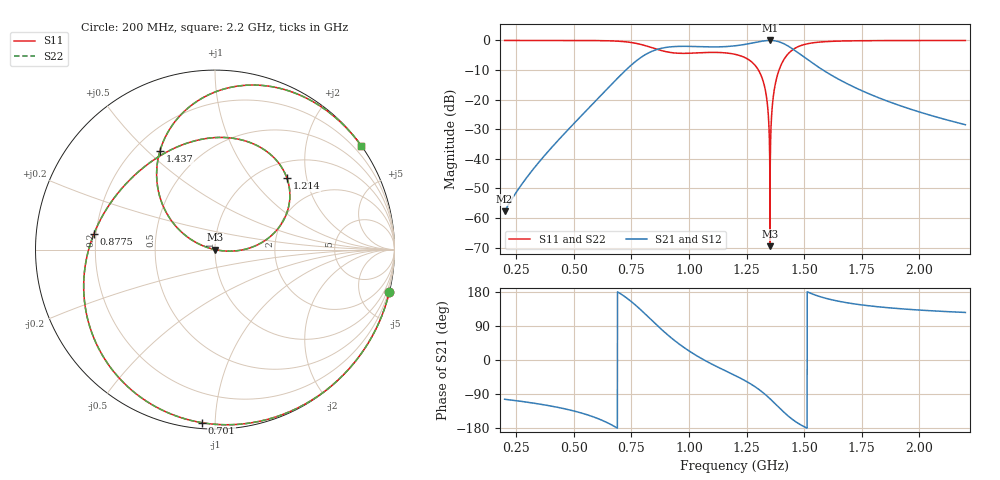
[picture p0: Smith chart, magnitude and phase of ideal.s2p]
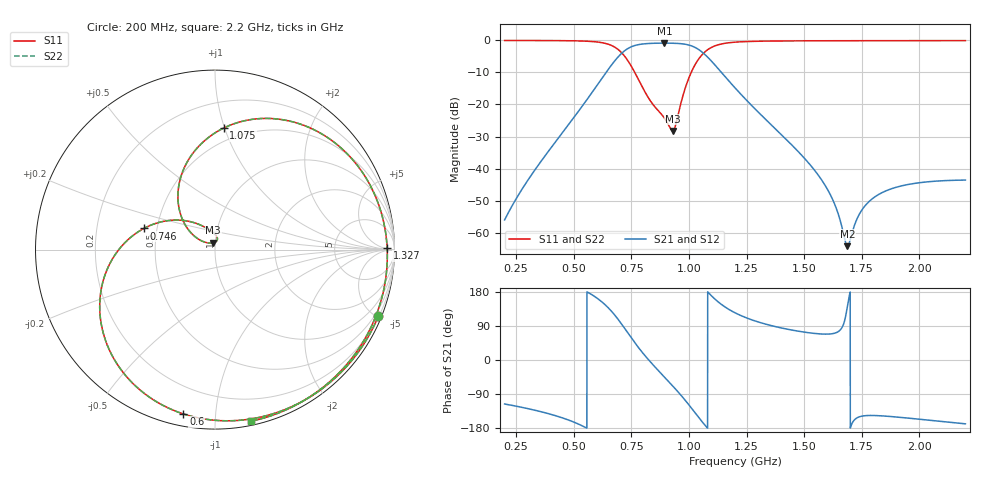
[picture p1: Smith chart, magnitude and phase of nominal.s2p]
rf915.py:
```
"""RF915 design and measurement tools. All generated design data is SIMULATED."""
from __future__ import annotations
import argparse
import csv
import json
from pathlib import Path
import numpy as np
import matplotlib
matplotlib.use('Agg')
import matplotlib.pyplot as plt

ROOT = Path(__file__).resolve().parent
Z0 = 50.0
# Coilcraft Document 158: R2 + ((k*sqrt(f)+jwL) || (R1+1/jwCp)).
# Parameters are typical de-embedded vendor fits, not measured board models.
COILS = {
    1.8: (25, .033, .014, 6.50e-6),
    2.2: (25, .180, .014, 1.14e-5),
    15.: (13, .078, .066, 2.50e-5),
    16.: (3, .085, .068, 3.10e-5),
    18.: (10, .066, .064, 3.66e-5),
    22.: (2, .140, .058, 4.90e-5),
}

def db(x):
    return 20*np.log10(np.maximum(np.abs(x), 1e-15))

def series(z):
    out = np.zeros((len(z), 2, 2), complex)
    out[:, 0, 0] = out[:, 1, 1] = 1
    out[:, 0, 1] = z
    return out

def shunt(y):
    out = series(np.zeros(len(y)))
    out[:, 1, 0] = y
    return out

def line(f, length_mm, impedance=50., er_eff=3.1, loss_db_per_m=8.):
    gamma_l = (loss_db_per_m*np.log(10)/20 +
               1j*2*np.pi*f*np.sqrt(er_eff)/299792458)*length_mm/1000
    out = np.empty((len(f),2,2), complex)
    out[:,0,0] = out[:,1,1] = np.cosh(gamma_l)
    out[:,0,1] = impedance*np.sinh(gamma_l)
    out[:,1,0] = np.sinh(gamma_l)/impedance
    return out

def abcd_to_s(t, z0=Z0):
    a,b,c,d = t[:,0,0],t[:,0,1],t[:,1,0],t[:,1,1]
    den = a+b/z0+c*z0+d
    s = np.empty_like(t)
    s[:,0,0] = (a+b/z0-c*z0-d)/den
    s[:,1,0] = 2/den
    s[:,0,1] = 2*(a*d-b*c)/den
    s[:,1,1] = (-a+b/z0-c*z0+d)/den
    return s

def inductor(f, nominal_nh, scale=1., ideal=False):
    w = 2*np.pi*f
    if ideal:
        return 1j*w*nominal_nh*1e-9*scale
    r1,r2,cp,k = COILS[nominal_nh]
    za = k*np.sqrt(f)+1j*w*nominal_nh*1e-9*scale
    zb = r1+1/(1j*w*cp*1e-12)
    return r2+za*zb/(za+zb)

def capacitor(f, pf, ideal=False, esr=.08, esl_nh=.2):
    return 1/(1j*2*np.pi*f*pf*1e-12) + (0 if ideal else esr+1j*2*np.pi*f*esl_nh*1e-9)

def simulate(f, cfg, ideal=False, variation=None):
    """Series C1/L1, parallel L2/C2, series L3/C3, SMA-to-SMA estimates.

    The branch parasitics include branch trace + via return. They are assumptions,
    not extracted values. See design.json and the README.
    """
    f = np.asarray(f, float)
    if f.ndim != 1 or np.any(f <= 0):
        raise ValueError('Frequency must be a positive 1D array')
    v = variation or {}
    p = cfg['parasitics']
    def lc(ref):
        return inductor(f, cfg['components'][ref], v.get(ref,1), ideal)
    def cc(ref):
        return capacitor(f, cfg['components'][ref]+v.get(ref,0), ideal,
                         p['capacitor_esr_ohm'],p['capacitor_esl_nh'])
    w = 2*np.pi*f
    bl = 0 if ideal else 1j*w*v.get('return_nh',p['ground_return_nh'])*1e-9
    def branch(z, length):
        if ideal: return z
        t=line(f,length,p['narrow_trace_ohms'],p['narrow_trace_er_eff'])
        return (t[:,0,0]*z+t[:,0,1])/(t[:,1,0]*z+t[:,1,1])
    zp = 1/(1/branch(lc('L2')+bl,p['inductor_branch_mm'])+1/branch(cc('C2')+bl,p['capacitor_branch_mm']))
    y = 1/zp + (0 if ideal else 1j*w*p['center_pad_pf']*1e-12)
    if ideal:
        t = series(cc('C1')+lc('L1')) @ shunt(y) @ series(lc('L3')+cc('C3'))
    else:
        trace1=line(f,p['between_series_parts_mm'],p['narrow_trace_ohms'],p['narrow_trace_er_eff'])
        trace2=line(f,p['inductor_to_center_mm'],p['narrow_trace_ohms'],p['narrow_trace_er_eff'])
        left=series(cc('C1')) @ trace1 @ series(lc('L1')) @ trace2
        right=trace2 @ series(lc('L3')) @ trace1 @ series(cc('C3'))
        t=left @ shunt(y) @ right
    if not ideal:
        launch = shunt(1j*w*p['launch_pad_pf']*1e-12) @ series(1j*w*p['launch_series_nh']*1e-9)
        port = line(f,p['port_line_length_mm'],cfg['pcb']['nominal_line_ohms'])
        # Mirror the launch at port 2, maintaining reciprocal symmetry.
        taper=line(f,p['feed_neck_mm'],p['narrow_trace_ohms'],p['narrow_trace_er_eff'])
        t = launch @ port @ taper @ t @ taper @ port @ series(1j*w*p['launch_series_nh']*1e-9) @ shunt(1j*w*p['launch_pad_pf']*1e-12)
    return abcd_to_s(t)

def write_s2p(path, f, s, description):
    path = Path(path)
    path.parent.mkdir(parents=True, exist_ok=True)
    with path.open('w',encoding='ascii') as fp:
        fp.write('! '+description+'\n# Hz S RI R 50\n')
        for fi,si in zip(f,s):
            vals=[fi]
            for row,col in ((0,0),(1,0),(0,1),(1,1)):
                vals.extend([si[row,col].real,si[row,col].imag])
            fp.write(' '.join(f'{x:.12g}' for x in vals)+'\n')

def read_s2p(path):
    """Touchstone 1.x two-port, RI/MA/DB, wrapped rows, ! comments, 50 ohms.

    Deliberately rejects Touchstone 2, noise blocks, nonmonotonic axes, and
    unsupported impedances instead of silently misinterpreting measurements.
    """
    options=['ghz','s','ma','r','50']  # Touchstone defaults
    data=[]
    for raw in Path(path).read_text(encoding='utf-8-sig').splitlines():
        line_=raw.split('!',1)[0].strip()
        if not line_: continue
        if line_.startswith('['):
            raise ValueError('Touchstone 2.x is unsupported; export Touchstone 1.x S2P')
        if line_.startswith('#'):
            options=line_[1:].lower().split()
            continue
        data.extend(float(x.replace('D','E').replace('d','e')) for x in line_.split())
    if len(options)!=5 or options[1]!='s' or options[3]!='r':
        raise ValueError('Expected # <unit> S <RI|MA|DB> R 50')
    if float(options[4])!=50:
        raise ValueError('Only 50-ohm reference impedance is supported')
    scales={'hz':1,'khz':1e3,'mhz':1e6,'ghz':1e9}
    if options[0] not in scales or options[2] not in ('ri','ma','db'):
        raise ValueError('Unsupported Touchstone unit or encoding')
    if not data or len(data)%9:
        raise ValueError('Expected nine numbers per two-port point; no noise block')
    a=np.array(data).reshape(-1,9)
    f=a[:,0]*scales[options[0]]
    if not np.isfinite(a).all() or len(f)<2 or np.any(f<=0) or np.any(np.diff(f)<=0):
        raise ValueError('Need finite data and at least two strictly increasing positive frequencies')
    pairs=a[:,1:].reshape(-1,4,2)
    if options[2]=='ri': z=pairs[:,:,0]+1j*pairs[:,:,1]
    else:
        mag=pairs[:,:,0] if options[2]=='ma' else 10**(pairs[:,:,0]/20)
        z=mag*np.exp(1j*np.deg2rad(pairs[:,:,1]))
    s=np.empty((len(f),2,2),complex)
    s[:,0,0],s[:,1,0],s[:,0,1],s[:,1,1]=z.T
    return f,s

def interp_complex(f, y, x):
    if min(x)<f[0] or max(x)>f[-1]:
        raise ValueError('Sweep does not cover required frequencies; extrapolation refused')
    return np.interp(x,f,y.real)+1j*np.interp(x,f,y.imag)

def metrics(f,s,cfg):
    targets=cfg['targets']
    lo,hi=np.array(targets['passband_mhz'])*1e6
    if f[0]>lo or f[-1]<hi:
        raise ValueError('Sweep must cover the complete 902-928 MHz passband')
    ix=(f>=lo)&(f<=hi)
    if ix.sum()<5: raise ValueError('Need at least five measured/simulated points in the passband')
    band=np.unique(np.r_[lo,f[ix],hi])
    il=-db(interp_complex(f,s[:,1,0],band))
    rl=-db(interp_complex(f,s[:,0,0],band))
    result={'worst_passband_insertion_loss_db':float(il.max()),
            'worst_passband_return_loss_db':float(rl.min()),
            'passband_ripple_db':float(np.ptp(il)),
            'insertion_loss_915_db':float(-db(interp_complex(f,s[:,1,0],[915e6]))[0]),
            'return_loss_915_db':float(-db(interp_complex(f,s[:,0,0],[915e6]))[0]),
            'passband_pass':bool(il.max()<=targets['max_insertion_loss_db'] and rl.min()>=targets['min_return_loss_db']),
            'stopband':{}}
    for mhz,atten in targets['stopband_min_attenuation_db'].items():
        hz=float(mhz)*1e6
        if f[0]<=hz<=f[-1]:
            value=float(-db(interp_complex(f,s[:,1,0],[hz]))[0])
            result['stopband'][mhz]={'attenuation_db':value,'pass':value>=atten}
        else: result['stopband'][mhz]={'attenuation_db':None,'pass':None,'reason':'outside sweep'}
    flags=[x['pass'] for x in result['stopband'].values()]
    result['overall_pass']=False if not result['passband_pass'] or False in flags else (None if None in flags else True)
    return result

def plot_traces(traces, out, title):
    fig,axes=plt.subplots(2,1,figsize=(10,7),sharex=True,layout='constrained')
    for f,s,label in traces:
        axes[0].plot(f/1e6,db(s[:,1,0]),label=label)
        axes[1].plot(f/1e6,-db(s[:,0,0]),label=label)
    for ax in axes:
        ax.axvspan(902,928,color='green',alpha=.1)
        ax.grid(alpha=.25); ax.legend(fontsize=8)
    axes[0].set(ylabel='S21 (dB)',ylim=(-60,1),title=title)
    axes[1].set(ylabel='Input return loss (dB)',xlabel='Frequency (MHz)',ylim=(0,45))
    axes[0].axhline(-3,color='gray',linestyle=':')
    axes[1].axhline(10,color='gray',linestyle=':')
    fig.savefig(out,dpi=180); plt.close(fig)

def run_simulation(cfg, out):
    out.mkdir(parents=True,exist_ok=True)
    f=np.unique(np.r_[np.linspace(200e6,2200e6,4001),902e6,915e6,928e6,433e6,1830e6])
    ideal=simulate(f,cfg,True); nominal=simulate(f,cfg)
    write_s2p(out/'ideal.s2p',f,ideal,'SIMULATED ideal lumped circuit; not measured')
    write_s2p(out/'nominal.s2p',f,nominal,'SIMULATED vendor inductor fit + estimated PCB/capacitor parasitics; not measured')
    plot_traces([(f,ideal,'Ideal lumped simulation'),(f,nominal,'Estimated board simulation')],out/'response.png','RF915 Rev A - SIMULATED, NOT MEASURED')
    result={'status':'SIMULATED_NOT_MEASURED','ideal':metrics(f,ideal,cfg),'estimated_board':metrics(f,nominal,cfg)}
    rng=np.random.default_rng(915)
    samples=[]
    # Independent uniform component tolerance sensitivity, NOT process corners or yield.
    for _ in range(300):
        v={ref:rng.uniform(.95,1.05) for ref in ('L1','L2','L3')}
        v.update({ref:rng.uniform(-.1,.1) for ref in ('C1','C3')})
        v['C2']=rng.uniform(-.5,.5)
        # Assembly/PCB uncertainty deliberately wider than component tolerances.
        v['return_nh']=rng.uniform(.05,.35)
        m=metrics(f,simulate(f,cfg,variation=v),cfg)
        samples.append([m['worst_passband_insertion_loss_db'],m['worst_passband_return_loss_db'],m['overall_pass']])
    with (out/'tolerance_samples.csv').open('w',newline='') as fp:
        w=csv.writer(fp);w.writerow(['max_IL_db','min_RL_db','all_targets_pass']);w.writerows(samples)
    result['sensitivity']={'seed':915,'samples':300,'passing_samples':sum(bool(x[2]) for x in samples),
                           'meaning':'Illustrative independent uniform tolerances and branch parasitics, not measured yield'}
    (out/'metrics.json').write_text(json.dumps(result,indent=2)+'\n')
    fig,ax=plt.subplots(figsize=(7,4),layout='constrained')
    a=np.asarray(samples,float)
    ax.scatter(a[:,0],a[:,1],s=10,alpha=.5)
    ax.axvline(3,c='red',ls='--');ax.axhline(10,c='red',ls='--')
    ax.set(xlabel='Worst passband insertion loss (dB)',ylabel='Worst passband return loss (dB)',title='SIMULATED tolerance/PCB sensitivity - not manufacturing yield')
    ax.grid(alpha=.2);fig.savefig(out/'sensitivity.png',dpi=180);plt.close(fig)
    print(json.dumps(result,indent=2))

def analyze(args,cfg):
    f,s=read_s2p(args.input)
    out=Path(args.output);out.mkdir(parents=True,exist_ok=True)
    if args.kind=='measured':
        if not args.metadata: raise ValueError('Measured data requires --metadata with instrument and calibration details')
        meta=json.loads(Path(args.metadata).read_text())
        for key in ('instrument','date','calibration','reference_plane','board_revision','operator'):
            if not meta.get(key): raise ValueError('Missing measurement metadata: '+key)
        if 'SIMULATED' in Path(args.input).read_text().upper():
            raise ValueError('Input is marked SIMULATED; cannot label it measured')
    else: meta={'note':'User supplied data; not claimed to be a physical measurement'}
    result={'kind':args.kind,'input':str(Path(args.input).resolve()),'metadata':meta,'metrics':metrics(f,s,cfg)}
    result['warnings']=[]
    channels=meta.get('measured_channels',['S11','S21']) if args.kind=='measured' else ['S11','S21','S12','S22']
    full=all(x in channels for x in ['S11','S21','S12','S22'])
    passive_test=np.linalg.svd(s,compute_uv=False)[:,0] if full else np.sqrt(abs(s[:,0,0])**2+abs(s[:,1,0])**2)
    if np.any(passive_test>1.02):
        result['warnings'].append('Data exceeds a passive power bound; check calibration, noise, or normalization')
    if not full:
        result['warnings'].append('Forward-only acquisition: S12/S22 are not treated as measured, regardless of exporter placeholders')
    traces=[(f,s,args.kind.upper()+': '+Path(args.input).name)]
    if args.reference:
        fr,sr=read_s2p(args.reference)
        traces.append((fr,sr,'Reference: '+Path(args.reference).name))
    plot_traces(traces,out/'comparison.png',f'RF915 - {args.kind.upper()} input analysis')
    gd=-np.gradient(np.unwrap(np.angle(s[:,1,0])),2*np.pi*f)*1e9
    with (out/'data.csv').open('w',newline='') as fp:
        w=csv.writer(fp);w.writerow(['frequency_hz','s11_db','s21_db','s12_db','s22_db','group_delay_ns'])
        reverse1=db(s[:,0,1]) if full else ['']*len(f)
        reverse2=db(s[:,1,1]) if full else ['']*len(f)
        w.writerows(zip(f,db(s[:,0,0]),db(s[:,1,0]),reverse1,reverse2,gd))
    (out/'metrics.json').write_text(json.dumps(result,indent=2)+'\n')
    print(json.dumps(result,indent=2))

def main():
    p=argparse.ArgumentParser(description=__doc__)
    sub=p.add_subparsers(dest='command',required=True)
    sim=sub.add_parser('simulate');sim.add_argument('--output',default=str(ROOT/'results/simulation'))
    a=sub.add_parser('analyze');a.add_argument('input');a.add_argument('--output',required=True)
    a.add_argument('--kind',choices=['measured','simulation','unverified'],default='unverified')
    a.add_argument('--metadata');a.add_argument('--reference')
    args=p.parse_args();cfg=json.loads((ROOT/'design.json').read_text())
    try:
        if args.command=='simulate': run_simulation(cfg,Path(args.output))
        else: analyze(args,cfg)
    except (ValueError,OSError,json.JSONDecodeError) as e:
        p.exit(2,f'Error: {e}\n')

if __name__=='__main__': main()
```
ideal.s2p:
! SIMULATED ideal lumped circuit; not measured
# Hz S RI R 50
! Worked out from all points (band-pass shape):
!   4001 points, 200 MHz to 2.2 GHz, reference 50 ohm
!   highest |S21| = 0.00 dB at 1.352 GHz (marker M1); lowest = -57.7 dB at 200 MHz (marker M2)
!   |S21| within 3 dB of the highest: 863.2 MHz to 1.453 GHz (589.5 MHz wide, 50.9 % of centre)
!   lowest |S11| = -69.5 dB at 1.352 GHz (marker M3), VSWR 1.00, Z = 50 + j0.0071 ohm
!   |S11| at or under -10 dB: 1.302 GHz to 1.391 GHz (89.49 MHz wide, 6.65 % of centre)
!   |S22| runs from -69.5 to 0.0 dB; largest |S21 - S12| = 1e-13
!   S11 on the Smith chart (normalised r, x): 200 MHz: 0.00, -8.42; 701 MHz: 0.03, -0.93; 877.5 MHz: 0.19, +0.06; 1.214 GHz: 1.31, +1.54; 1.437 GHz: 0.30, +0.55; 2.2 GHz: 0.00, +3.13
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2e8  0.9722 -0.2343  -0.000304 -0.00126  -0.000304 -0.00126  0.9722 -0.2343
7.01e8  -0.0716 -0.9646  -0.253 0.0188  -0.253 0.0188  -0.0716 -0.9646
8.775e8  -0.6747 0.0877  0.0945 0.7268  0.0945 0.7268  -0.6747 0.0877
1.012e9  -0.2027 0.5755  0.7473 0.2632  0.7473 0.2632  -0.2027 0.5755
1.2e9  0.3813 0.4419  0.6148 -0.5305  0.6148 -0.5305  0.3813 0.4419
1.214e9  0.4003 0.3997  0.5826 -0.5836  0.5826 -0.5836  0.4003 0.3997
1.313e9  0.2554 0.0362  0.1354 -0.9566  0.1354 -0.9566  0.2554 0.0362
1.352e9  -0.000327 7.11e-05  -0.2126 -0.9772  -0.2126 -0.9772  -0.000327 7.11e-05
1.381e9  -0.204 0.1147  -0.4765 -0.8474  -0.4765 -0.8474  -0.204 0.1147
1.437e9  -0.3065 0.5507  -0.6785 -0.3776  -0.6785 -0.3776  -0.3065 0.5507
2.2e9  0.8139 0.5798  -0.0219 0.0307  -0.0219 0.0307  0.8139 0.5798
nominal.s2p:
! SIMULATED vendor inductor fit + estimated PCB/capacitor parasitics; not measured
# Hz S RI R 50
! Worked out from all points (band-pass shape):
!   4001 points, 200 MHz to 2.2 GHz, reference 50 ohm
!   highest |S21| = -0.98 dB at 893.5 MHz (marker M1); lowest = -63.9 dB at 1.688 GHz (marker M2)
!   |S21| within 3 dB of the highest: 710.3 MHz to 1.061 GHz (350.7 MHz wide, 39.6 % of centre)
!   lowest |S11| = -28.2 dB at 929.5 MHz (marker M3), VSWR 1.08, Z = 48.9 + j3.71 ohm
!   |S11| at or under -10 dB: 764.4 MHz to 1.01 GHz (245.9 MHz wide, 27.7 % of centre)
!   |S22| runs from -28.2 to -0.1 dB; largest |S21 - S12| = 1e-12
!   S11 on the Smith chart (normalised r, x): 200 MHz: 0.23, -5.10; 600 MHz: 0.06, -0.82; 746 MHz: 0.42, +0.12; 1.075 GHz: 0.39, +0.99; 1.327 GHz: 45, +11; 2.2 GHz: 0.03, -1.23
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2e8  0.9105 -0.3704  -0.000713 -0.00146  -0.000713 -0.00146  0.9105 -0.3704
6e8  -0.1761 -0.9156  -0.1872 0.0547  -0.1872 0.0547  -0.1761 -0.9156
7.46e8  -0.3965 0.1178  0.3669 0.6803  0.3669 0.6803  -0.3965 0.1178
8.935e8  0.0137 0.0601  0.6321 -0.6309  0.6321 -0.6309  0.0137 0.0601
9.295e8  -0.00948 0.0378  0.3282 -0.8276  0.3282 -0.8276  -0.00948 0.0378
1.075e9  0.0485 0.6774  -0.5679 -0.0423  -0.5679 -0.0423  0.0485 0.6774
1.2e9  0.809 0.448  -0.1028 0.149  -0.1028 0.149  0.809 0.448
1.327e9  0.9591 0.00934  -0.00608 0.0613  -0.00608 0.0613  0.9591 0.00934
1.688e9  0.7335 -0.6406  -0.000505 0.000385  -0.000505 0.000385  0.7335 -0.6406
1.8295e9  0.5935 -0.774  -0.00347 -0.00224  -0.00347 -0.00224  0.5935 -0.774
2.2e9  0.2032 -0.9559  -0.00659 -0.00135  -0.00659 -0.00135  0.2032 -0.9559
